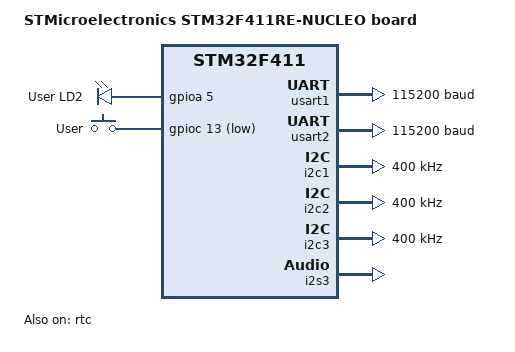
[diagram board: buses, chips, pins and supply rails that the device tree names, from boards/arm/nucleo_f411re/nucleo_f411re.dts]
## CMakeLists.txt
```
cmake_minimum_required(VERSION 3.13.1)

include($ENV{ZEPHYR_BASE}/cmake/app/boilerplate.cmake NO_POLICY_SCOPE)

project(audio)

target_sources(app PRIVATE src/main.c)
```

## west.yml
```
manifest:
  remotes:
    - name: es
      url-base: https://github.com/electronshepherds
  projects:
    - name: zephyr
      remote: es
      revision: develop
      import: true
  self:
    path: app
```

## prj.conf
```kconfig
CONFIG_GPIO=y
CONFIG_I2S=y
CONFIG_NEWLIB_LIBC=y

CONFIG_DEBUG=y
CONFIG_LOG=y
CONFIG_I2S_LOG_LEVEL_DBG=y
```

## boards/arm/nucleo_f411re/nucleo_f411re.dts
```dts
/*
 * Copyright (c) 2017 Linaro Limited
 *
 * SPDX-License-Identifier: Apache-2.0
 */

/dts-v1/;
#include <st/f4/stm32f411Xe.dtsi>
#include "arduino_r3_connector.dtsi"

/ {
	model = "STMicroelectronics STM32F411RE-NUCLEO board";
	compatible = "st,stm32f411re-nucleo", "st,stm32f411";

	chosen {
		zephyr,console = &usart2;
		zephyr,shell-uart = &usart2;
		zephyr,sram = &sram0;
		zephyr,flash = &flash0;
	};

	leds {
		compatible = "gpio-leds";
		green_led_2: led_2 {
			gpios = <&gpioa 5 GPIO_ACTIVE_HIGH>;
			label = "User LD2";
		};
	};

	gpio_keys {
		compatible = "gpio-keys";
		user_button: button {
			label = "User";
			gpios = <&gpioc 13 GPIO_ACTIVE_LOW>;
		};
	};

	aliases {
		led0 = &green_led_2;
		sw0 = &user_button;
		i2s = &i2s3;
	};
};

&usart1 {
	current-speed = <115200>;
	status = "okay";
};

&usart2 {
	current-speed = <115200>;
	status = "okay";
};

&i2c1 {
	status = "okay";
	clock-frequency = <I2C_BITRATE_FAST>;
};

&i2c2 {
	clock-frequency = <I2C_BITRATE_FAST>;
};

&i2c3 {
	clock-frequency = <I2C_BITRATE_FAST>;
};

&i2s3 {
	status = "okay";
};

&dma1 {
	status = "okay";
};

&rtc {
	status = "okay";
};
```

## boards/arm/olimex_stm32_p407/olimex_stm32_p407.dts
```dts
/*
 * Copyright (c) 2017, Erwin Rol <erwin@erwinrol.com>
 *
 * SPDX-License-Identifier: Apache-2.0
 */

/dts-v1/;
#include <st/f4/stm32f407Xg.dtsi>

/ {
	model = "Olimex STM32-P407 board";
	compatible = "olimex,stm32-p407", "st,stm32f407";

	chosen {
		zephyr,console = &usart3;
		zephyr,shell-uart = &usart3;
		zephyr,sram = &sram0;
		zephyr,flash = &flash0;
		zephyr,ccm = &ccm0;
	};

	leds {
		compatible = "gpio-leds";
		green_led_1: led_1 {
			gpios = <&gpiof 6 GPIO_ACTIVE_HIGH>;
			label = "LED0";
		};
	};

	gpio_keys {
		compatible = "gpio-keys";
		user_button: button {
			label = "Key";
			gpios = <&gpioc 13 GPIO_ACTIVE_LOW>;
		};
	};

	aliases {
		led0 = &green_led_1;
		sw0 = &user_button;
		i2s = &i2s3;
	};
};

&usart3 {
	current-speed = <115200>;
	status = "okay";
};

&i2s3 {
	status = "okay";
};

&dma1 {
	status = "okay";
};

&rtc {
	status = "okay";
};
```

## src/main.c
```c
#include <zephyr.h>
#include <device.h>
#include <drivers/gpio.h>
#include <drivers/i2s.h>
#include <math.h>
#include <string.h>

#define LED0  DT_ALIAS_LED0_GPIOS_CONTROLLER
#define PIN   DT_ALIAS_LED0_GPIOS_PIN
#define FLAGS DT_ALIAS_LED0_GPIOS_FLAGS


static void blink_led_thread(void *unused1, void *unused2, void *unused3)
{
	ARG_UNUSED(unused1);
	ARG_UNUSED(unused2);
	ARG_UNUSED(unused3);

	int ret;
	struct device *dev;

	dev = device_get_binding(LED0);
	if (dev == NULL) {
		return;
	}

	ret = gpio_pin_configure(dev, PIN, GPIO_OUTPUT_ACTIVE | FLAGS);
	if (ret < 0) {
		return;
	}

	while (1) {
		gpio_pin_set(dev, PIN, !gpio_pin_get(dev, PIN));
		k_sleep(500);
	}
}

#define PI 3.14159265
static void create_sine_wave(void* mem_block, int num_chans, int bits, int samples_per_cycle)
{
	ARG_UNUSED(bits);

	int i,n;
	double sample;
	u8_t *buf = mem_block;

	for (i = 0; i < samples_per_cycle; i++) {
		sample = sin(i * PI / 180.0);
		sample *= pow(2, bits - 1) - 1;

		for (n = 0; n < num_chans; n++) {
			//buf[3*(num_chans*i+n)+0] = (u8_t)(((int)sample) >> 16);
			buf[2*(num_chans*i+n)+0] = (u8_t)(((int)sample) >>  8);
			buf[2*(num_chans*i+n)+1] = (u8_t)(((int)sample) >>  0);
		}
	}
}

#define SAMPLE_RATE     (10000)
#define WAVE_FREQ_HZ    (500)
#define NUM_CHANS       (2)
#define WORD_SIZE       (16)
#define SAMPLE_PER_CYCLE (SAMPLE_RATE / WAVE_FREQ_HZ)

K_MEM_SLAB_DEFINE(mem_slab, NUM_CHANS * SAMPLE_PER_CYCLE * WORD_SIZE / 8, 10, 4);

static void sound_thread(void *unused1, void *unused2, void *unused3)
{
	ARG_UNUSED(unused1);
	ARG_UNUSED(unused2);
	ARG_UNUSED(unused3);

	int ret;
	struct device *dev;
	struct i2s_config cfg;
	void *mem_block_sine;
	void *mem_block;

	dev = device_get_binding(DT_ALIAS_I2S_LABEL);
	if (dev == NULL) {
		return;
	}

	/* configure i2s for audio playback */
	cfg.word_size = WORD_SIZE;
	cfg.channels  = NUM_CHANS;
	cfg.format    = I2S_FMT_DATA_FORMAT_I2S | I2S_FMT_CLK_NF_NB;
	cfg.options = I2S_OPT_FRAME_CLK_MASTER | I2S_OPT_BIT_CLK_MASTER;
	cfg.frame_clk_freq = SAMPLE_RATE;
	cfg.block_size = NUM_CHANS * SAMPLE_PER_CYCLE * WORD_SIZE / 8;
	cfg.mem_slab = &mem_slab;
	cfg.timeout = K_FOREVER;

	ret = i2s_configure(dev, I2S_DIR_TX, &cfg);
	if (ret < 0) {
	 	return;
	}

	ret = k_mem_slab_alloc(&mem_slab, &mem_block_sine, 1000);
	if (ret < 0) {
		return;
	}
	create_sine_wave(mem_block_sine, NUM_CHANS, WORD_SIZE, SAMPLE_PER_CYCLE);

	ret = k_mem_slab_alloc(&mem_slab, &mem_block, 1000);
	if (ret < 0) {
		return;
	}
	memcpy(mem_block, mem_block_sine, cfg.block_size);

	ret = i2s_write(dev, mem_block, NUM_CHANS * SAMPLE_PER_CYCLE * WORD_SIZE / 8);
	if (ret < 0) {
		while (1);
		return;
	}
	ret = i2s_trigger(dev, I2S_DIR_TX, I2S_TRIGGER_START);
	if (ret < 0) {
		while (1);
		return;
	}

	while (1) {
		ret = k_mem_slab_alloc(&mem_slab, &mem_block, 1000);
		if (ret < 0) {
			while (1);
			return;
		}
		memcpy(mem_block, mem_block_sine, cfg.block_size);

		ret = i2s_write(dev, mem_block, NUM_CHANS * SAMPLE_PER_CYCLE * WORD_SIZE / 8);
		if (ret < 0) {
			while (1);
			return;
		}
	}
}


K_THREAD_DEFINE(blink_led_thread_tid, 512,
	blink_led_thread, NULL, NULL, NULL,
	5, 0, K_NO_WAIT);

K_THREAD_DEFINE(sound_thread_tid, 4096,
	sound_thread, NULL, NULL, NULL,
	5, 0, K_NO_WAIT);
```
